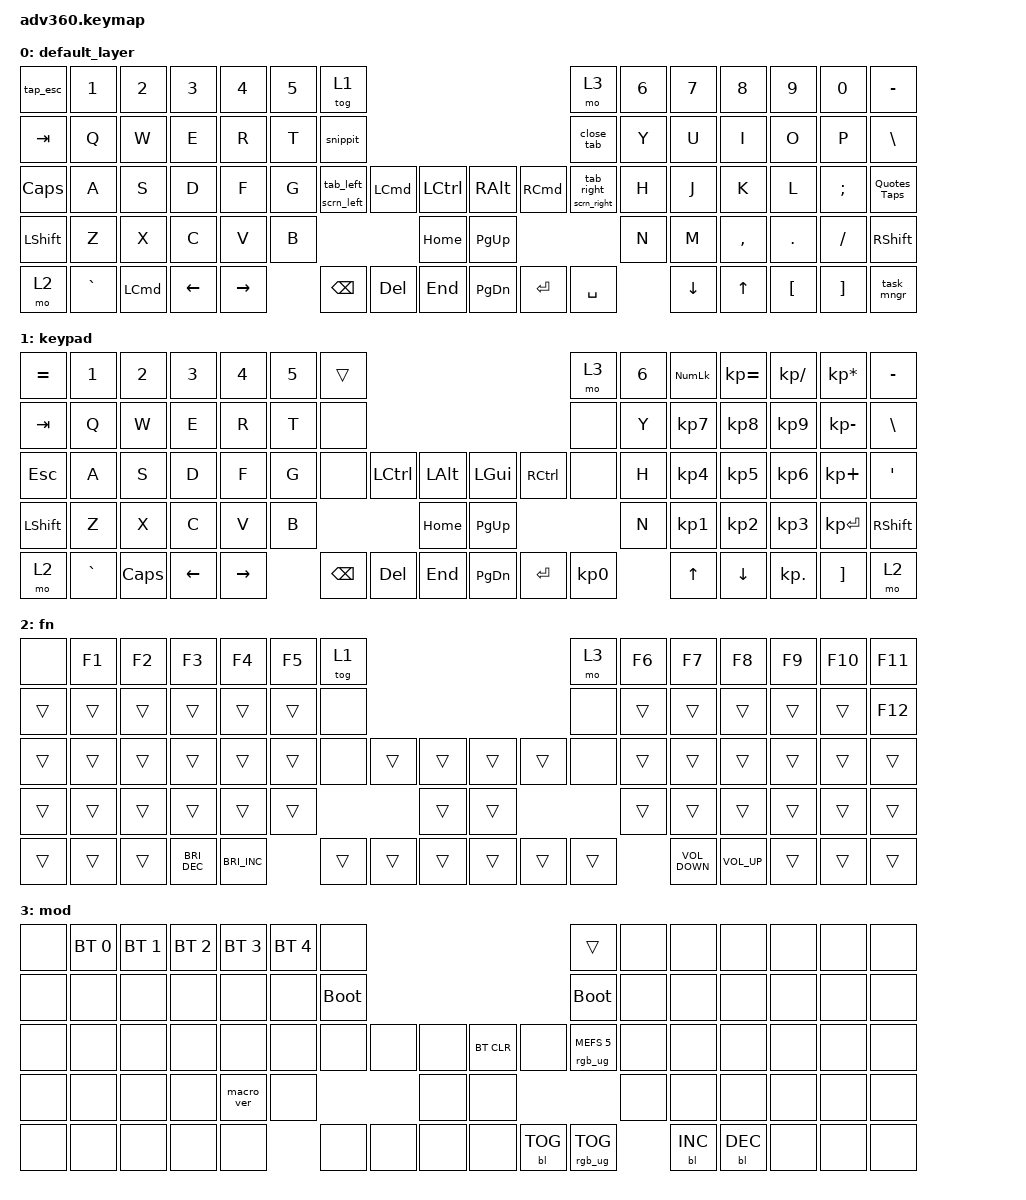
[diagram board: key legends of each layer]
#include <behaviors.dtsi>
#include <dt-bindings/zmk/backlight.h>
#include <dt-bindings/zmk/bt.h>
#include <dt-bindings/zmk/keys.h>
#include <dt-bindings/zmk/rgb.h>

/ {
    behaviors {
        #include "macros.dtsi"
      #include "version.dtsi"
      #ifndef VERSION_MACRO
      #endif

        hm: homerow_mods {
            compatible = "zmk,behavior-hold-tap";
            label = "HOMEROW_MODS";
            #binding-cells = <2>;
            tapping-term-ms = <200>;
            quick_tap_ms = <175>;
            flavor = "tap-preferred";
            bindings = <&kp>, <&kp>;
        };

        tap_esc: tap_esc {
            compatible = "zmk,behavior-tap-dance";
            label = "TAP_ESC";
            #binding-cells = <0>;
            bindings = <&kp EQUAL>, <&kp ESCAPE>;

            tapping-term-ms = <200>;
        };

        Quotes_Taps: Quotes_Taps {
            compatible = "zmk,behavior-tap-dance";
            label = "QUOTES_TAPS";
            #binding-cells = <0>;
            bindings = <&kp SQT>, <&kp DOUBLE_QUOTES>;
        };

        nav_left: nav_left {
            compatible = "zmk,behavior-hold-tap";
            label = "NAV_LEFT";
            bindings = <&scrn_left>, <&tab_left>;

            #binding-cells = <2>;
            tapping-term-ms = <200>;
        };

        nav_right: nav_right {
            compatible = "zmk,behavior-hold-tap";
            label = "NAV_RIGHT";
            bindings = <&scrn_right>, <&tab_right>;

            #binding-cells = <2>;
            tapping-term-ms = <200>;
        };
    };

    macros {
        tab_left: tab_left {
            compatible = "zmk,behavior-macro";
            #binding-cells = <0>;
            bindings =
                <&macro_press>,
                <&kp LEFT_COMMAND &kp LEFT_ALT &kp LEFT>,
                <&macro_release>,
                <&kp LEFT_COMMAND &kp LEFT_ALT &kp LEFT>;

            label = "TAB_LEFT";
            wait-ms = <10>;
        };

        tab_right: tab_right {
            compatible = "zmk,behavior-macro";
            #binding-cells = <0>;
            bindings =
                <&macro_press>,
                <&kp RIGHT_COMMAND &kp RIGHT_ALT &kp RIGHT>,
                <&macro_release>,
                <&kp RIGHT_COMMAND &kp RIGHT_ALT &kp RIGHT>;

            label = "TAB_RIGHT";
            wait-ms = <10>;
        };

        snippit: snippit {
            compatible = "zmk,behavior-macro";
            #binding-cells = <0>;
            bindings =
                <&macro_press>,
                <&kp LEFT_COMMAND &kp LEFT_SHIFT &kp NUMBER_4>,
                <&macro_release>,
                <&kp LEFT_COMMAND &kp LEFT_SHIFT &kp NUMBER_4>;

            label = "SNIPPIT";
            wait-ms = <10>;
        };

        scrn_left: scrn_left {
            compatible = "zmk,behavior-macro";
            #binding-cells = <0>;
            bindings =
                <&macro_press>,
                <&kp LEFT_CONTROL &kp LEFT>,
                <&macro_release>,
                <&kp LEFT_CONTROL &kp LEFT>;

            label = "SCRN_LEFT";
        };

        scrn_right: scrn_right {
            compatible = "zmk,behavior-macro";
            #binding-cells = <0>;
            bindings =
                <&macro_press>,
                <&kp LEFT_CONTROL &kp RIGHT>,
                <&macro_release>,
                <&kp LEFT_CONTROL &kp RIGHT>;

            label = "SCRN_RIGHT";
        };

        close_tab: close_tab {
            compatible = "zmk,behavior-macro";
            #binding-cells = <0>;
            bindings =
                <&macro_press>,
                <&kp LEFT_COMMAND &kp W>,
                <&macro_release>,
                <&kp LEFT_COMMAND &kp W>;

            label = "CLOSE_TAB";
        };

        task_mngr: task_mngr {
            compatible = "zmk,behavior-macro";
            #binding-cells = <0>;
            bindings =
                <&macro_press>,
                <&kp LEFT_COMMAND &kp LEFT_ALT &kp ESC>,
                <&macro_release>,
                <&kp LEFT_COMMAND &kp LEFT_ALT &kp ESC>;

            label = "TASK_MNGR";
            wait-ms = <10>;
        };
    };

    keymap {
        compatible = "zmk,keymap";

        default_layer {
            bindings = <
&tap_esc   &kp N1     &kp N2            &kp N3    &kp N4     &kp N5  &tog 1                                                                            &mo 3           &kp N6  &kp N7    &kp N8        &kp N9    &kp N0    &kp MINUS
&kp TAB    &kp Q      &kp W             &kp E     &kp R      &kp T   &snippit                                                                          &close_tab      &kp Y   &kp U     &kp I         &kp O     &kp P     &kp BSLH
&kp CAPS   &kp A      &kp S             &kp D     &kp F      &kp G   &nav_left 0 0  &kp LEFT_COMMAND  &kp LCTRL      &kp RIGHT_ALT  &kp RIGHT_COMMAND  &nav_right 0 0  &kp H   &kp J     &kp K         &kp L     &kp SEMI  &Quotes_Taps
&kp LSHFT  &kp Z      &kp X             &kp C     &kp V      &kp B                                    &kp HOME       &kp PG_UP                                         &kp N   &kp M     &kp COMMA     &kp DOT   &kp FSLH  &kp RSHFT
&mo 2      &kp GRAVE  &kp LEFT_COMMAND  &kp LEFT  &kp RIGHT          &kp BACKSPACE  &kp DEL           &kp END        &kp PG_DN      &kp ENTER          &kp SPACE               &kp DOWN  &kp UP_ARROW  &kp LBKT  &kp RBKT  &task_mngr
            >;
        };

        keypad {
            bindings = <
&kp EQUAL  &kp N1     &kp N2    &kp N3    &kp N4     &kp N5  &trans                                                   &mo 3      &kp N6  &kp KP_NUM  &kp KP_EQUAL  &kp KP_DIVIDE  &kp KP_MULTIPLY  &kp MINUS
&kp TAB    &kp Q      &kp W     &kp E     &kp R      &kp T   &none                                                    &none      &kp Y   &kp KP_N7   &kp KP_N8     &kp KP_N9      &kp KP_MINUS     &kp BSLH
&kp ESC    &kp A      &kp S     &kp D     &kp F      &kp G   &none     &kp LCTRL  &kp LALT      &kp LGUI   &kp RCTRL  &none      &kp H   &kp KP_N4   &kp KP_N5     &kp KP_N6      &kp KP_PLUS      &kp SQT
&kp LSHFT  &kp Z      &kp X     &kp C     &kp V      &kp B                        &kp HOME      &kp PG_UP                        &kp N   &kp KP_N1   &kp KP_N2     &kp KP_N3      &kp KP_ENTER     &kp RSHFT
&mo 2      &kp GRAVE  &kp CAPS  &kp LEFT  &kp RIGHT          &kp BSPC  &kp DEL    &kp END       &kp PG_DN  &kp ENTER  &kp KP_N0          &kp UP      &kp DOWN      &kp KP_DOT     &kp RBKT         &mo 2
            >;
        };

        fn {
            bindings = <
&none   &kp F1  &kp F2  &kp F3                &kp F4                &kp F5  &tog 1                                      &mo 3   &kp F6  &kp F7             &kp F8           &kp F9  &kp F10  &kp F11
&trans  &trans  &trans  &trans                &trans                &trans  &none                                       &none   &trans  &trans             &trans           &trans  &trans   &kp F12
&trans  &trans  &trans  &trans                &trans                &trans  &none   &trans  &trans      &trans  &trans  &none   &trans  &trans             &trans           &trans  &trans   &trans
&trans  &trans  &trans  &trans                &trans                &trans                  &trans      &trans                  &trans  &trans             &trans           &trans  &trans   &trans
&trans  &trans  &trans  &kp C_BRIGHTNESS_DEC  &kp C_BRIGHTNESS_INC          &trans  &trans  &trans      &trans  &trans  &trans          &kp C_VOLUME_DOWN  &kp C_VOLUME_UP  &trans  &trans   &trans
            >;
        };

        mod {
            bindings = <
&none  &bt BT_SEL 0  &bt BT_SEL 1  &bt BT_SEL 2  &bt BT_SEL 3  &bt BT_SEL 4  &none                                                  &trans                  &none  &none       &none       &none  &none  &none
&none  &none         &none         &none         &none         &none         &bootloader                                            &bootloader             &none  &none       &none       &none  &none  &none
&none  &none         &none         &none         &none         &none         &none        &none  &none      &bt BT_CLR  &none       &rgb_ug RGB_MEFS_CMD 5  &none  &none       &none       &none  &none  &none
&none  &none         &none         &none         &macro_ver    &none                             &none      &none                                           &none  &none       &none       &none  &none  &none
&none  &none         &none         &none         &none                       &none        &none  &none      &none       &bl BL_TOG  &rgb_ug RGB_TOG                &bl BL_INC  &bl BL_DEC  &none  &none  &none
            >;
        };
    };
};
